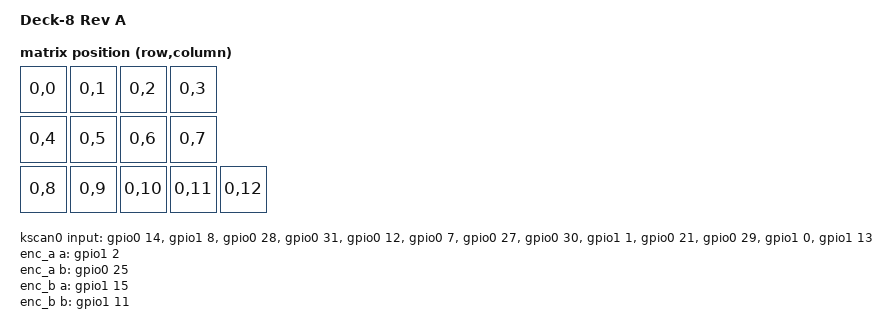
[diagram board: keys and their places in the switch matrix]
/*
 * Deck-8 Rev A
 *
 * Raytac MDBT50Q-1MV2 (nRF52840), normal voltage mode (VDD = VDDH = 3.3 V from the TPS7A0533), 32.768 kHz crystal.
 * Flash layout matches the Adafruit nRF52 UF2 bootloader with SoftDevice S140 v6 (as on the nice!nano), so the
 * same bootloader hex works and firmware updates are drag-and-drop UF2 over USB.
 */

/dts-v1/;
#include <nordic/nrf52840_qiaa.dtsi>
#include <common/nordic/nrf52840_partition_uf2_sdv6.dtsi>
#include <common/nordic/nrf52840_uf2_boot_mode.dtsi>

#include <dt-bindings/led/led.h>
#include <dt-bindings/zmk/matrix_transform.h>

#include "deck8-pinctrl.dtsi"
#include "deck8-layout.dtsi"

/ {
    model = "Deck-8 Rev A";
    compatible = "deck8,deck8";

    chosen {
        zmk,kscan = &kscan0;
        zmk,physical-layout = &deck8_layout;
        zmk,battery = &vbatt;
        zmk,underglow = &all_leds;
        zephyr,display = &oled;
    };

    default_transform: keymap_transform_0 {
        compatible = "zmk,matrix-transform";
        rows = <1>;
        columns = <13>;
        map = <
            RC(0,0) RC(0,1) RC(0,2) RC(0,3)
            RC(0,4) RC(0,5) RC(0,6) RC(0,7)
            RC(0,8) RC(0,9) RC(0,10) RC(0,11) RC(0,12)
        >;
    };

    /* every input has its own pin to GND and uses the internal pull-up */
    kscan0: kscan {
        compatible = "zmk,kscan-gpio-direct";
        wakeup-source;
        input-gpios
            = <&gpio0 14 (GPIO_ACTIVE_LOW | GPIO_PULL_UP)>    /* K1  key 1 */
            , <&gpio1  8 (GPIO_ACTIVE_LOW | GPIO_PULL_UP)>    /* K2  key 2 */
            , <&gpio0 28 (GPIO_ACTIVE_LOW | GPIO_PULL_UP)>    /* K3  key 3 */
            , <&gpio0 31 (GPIO_ACTIVE_LOW | GPIO_PULL_UP)>    /* K4  key 4 */
            , <&gpio0 12 (GPIO_ACTIVE_LOW | GPIO_PULL_UP)>    /* K5  key 5 */
            , <&gpio0  7 (GPIO_ACTIVE_LOW | GPIO_PULL_UP)>    /* K6  key 6 */
            , <&gpio0 27 (GPIO_ACTIVE_LOW | GPIO_PULL_UP)>    /* K7  key 7 */
            , <&gpio0 30 (GPIO_ACTIVE_LOW | GPIO_PULL_UP)>    /* K8  key 8 */
            , <&gpio1  1 (GPIO_ACTIVE_LOW | GPIO_PULL_UP)>    /* SW3 L1 */
            , <&gpio0 21 (GPIO_ACTIVE_LOW | GPIO_PULL_UP)>    /* SW4 L2 */
            , <&gpio0 29 (GPIO_ACTIVE_LOW | GPIO_PULL_UP)>    /* SW5 System */
            , <&gpio1  0 (GPIO_ACTIVE_LOW | GPIO_PULL_UP)>    /* ENC1 push */
            , <&gpio1 13 (GPIO_ACTIVE_LOW | GPIO_PULL_UP)>    /* ENC2 push */
            ;
    };

    /* Bourns PEC11R-4220F-S0024: 24 detents, 24 pulses per turn */
    enc_a: encoder_a {
        compatible = "alps,ec11";
        a-gpios = <&gpio1  2 (GPIO_ACTIVE_HIGH | GPIO_PULL_UP)>;
        b-gpios = <&gpio0 25 (GPIO_ACTIVE_HIGH | GPIO_PULL_UP)>;
        steps = <96>;
    };

    enc_b: encoder_b {
        compatible = "alps,ec11";
        a-gpios = <&gpio1 15 (GPIO_ACTIVE_HIGH | GPIO_PULL_UP)>;
        b-gpios = <&gpio1 11 (GPIO_ACTIVE_HIGH | GPIO_PULL_UP)>;
        steps = <96>;
    };

    sensors: sensors {
        compatible = "zmk,keymap-sensors";
        sensors = <&enc_a &enc_b>;
        triggers-per-rotation = <24>;
    };

    /* TPS22917 (U4) switches VSYS onto VLED for both LED chains; R13 holds it off while the MCU is off.
     * Node name must stay "EXT_POWER" to match ZMK's saved setting. */
    EXT_POWER {
        compatible = "zmk,ext-power-generic";
        control-gpios = <&gpio0 26 GPIO_ACTIVE_HIGH>;
        init-delay-ms = <10>;
    };

    /* BAT_SENSE on AIN0 (P0.02): R10 1 M from VBAT over R11 1 M to GND, C4 100 nF holds it for the ADC */
    vbatt: vbatt {
        compatible = "zmk,battery-voltage-divider";
        io-channels = <&adc 0>;
        output-ohms = <1000000>;
        full-ohms = <2000000>;
    };

    /* Key LEDs first (D1-D8 in chain order 5-6-7-8-4-3-2-1), then the ring, so effects run across both. */
    all_leds: led_chain {
        compatible = "deck8,led-strip-chain";
        strips = <&key_leds &ring_leds>;
        chain-length = <25>;   /* 8 + ring_leds chain-length */
    };
};

&adc {
    status = "okay";
};

&gpiote {
    status = "okay";
};

&gpio0 {
    status = "okay";
};

&gpio1 {
    status = "okay";
};

/* RESET on P0.18: SW2 (double press for the bootloader) and the Tag-Connect */
&uicr {
    gpio-as-nreset;
};

&i2c0 {
    compatible = "nordic,nrf-twim";
    status = "okay";
    pinctrl-0 = <&i2c0_default>;
    pinctrl-1 = <&i2c0_sleep>;
    pinctrl-names = "default", "sleep";
    clock-frequency = <I2C_BITRATE_FAST>;

    /* 0.96 in 128x64 SSD1306 on J5. Its header row faces the keys, so the module sits 180 deg from the usual
     * pins-on-top way; if the picture comes out upside down, add segment-remap and com-invdir. */
    oled: ssd1306@3c {
        compatible = "solomon,ssd1306fb";
        reg = <0x3c>;
        width = <128>;
        height = <64>;
        segment-offset = <0>;
        page-offset = <0>;
        display-offset = <0>;
        multiplex-ratio = <63>;
        prechargep = <0x22>;
        inversion-on;
    };
};

&spi1 {
    compatible = "nordic,nrf-spim";
    status = "okay";
    pinctrl-0 = <&spi1_default>;
    pinctrl-1 = <&spi1_sleep>;
    pinctrl-names = "default", "sleep";

    /* D1-D8 SK6812MINI-E, through U6 */
    key_leds: ws2812@0 {
        compatible = "worldsemi,ws2812-spi";
        reg = <0>;
        spi-max-frequency = <4000000>;
        chain-length = <8>;
        spi-one-frame = <0x70>;
        spi-zero-frame = <0x40>;
        color-mapping = <LED_COLOR_ID_GREEN LED_COLOR_ID_RED LED_COLOR_ID_BLUE>;
    };
};

&spi2 {
    compatible = "nordic,nrf-spim";
    status = "okay";
    pinctrl-0 = <&spi2_default>;
    pinctrl-1 = <&spi2_sleep>;
    pinctrl-names = "default", "sleep";

    /* light ring: 5 mm SK6812 strip on J4, about 293 mm round the light wall = 17 LEDs at 60/m.
     * Change chain-length here and in all_leds if your strip has a different count. */
    ring_leds: ws2812@0 {
        compatible = "worldsemi,ws2812-spi";
        reg = <0>;
        spi-max-frequency = <4000000>;
        chain-length = <17>;
        spi-one-frame = <0x70>;
        spi-zero-frame = <0x40>;
        color-mapping = <LED_COLOR_ID_GREEN LED_COLOR_ID_RED LED_COLOR_ID_BLUE>;
    };
};

zephyr_udc0: &usbd {
    status = "okay";
};

&deck8_layout {
    transform = <&default_transform>;
};
